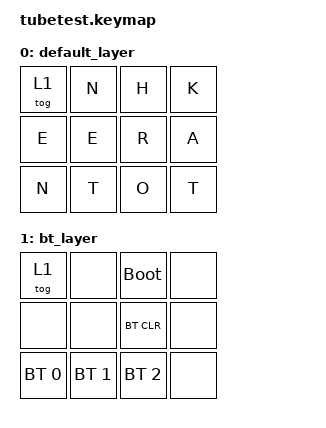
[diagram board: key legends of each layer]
#include <behaviors.dtsi>
#include <dt-bindings/zmk/keys.h>
#include <dt-bindings/zmk/bt.h>

/ {  
    keymap {
        compatible = "zmk,keymap";

        default_layer {
            bindings = <
                &tog 1     &kp N     &kp H     &kp K
                &kp E     &kp E     &kp R     &kp A
                &kp N     &kp T     &kp O     &kp T
            >;
        };

        bt_layer {
            bindings = <
                &tog 1            &none            &bootloader            &none
                &none            &none            &bt BT_CLR             &none
                &bt BT_SEL 0     &bt BT_SEL 1     &bt BT_SEL 2           &none
            >;
        };
    };
};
